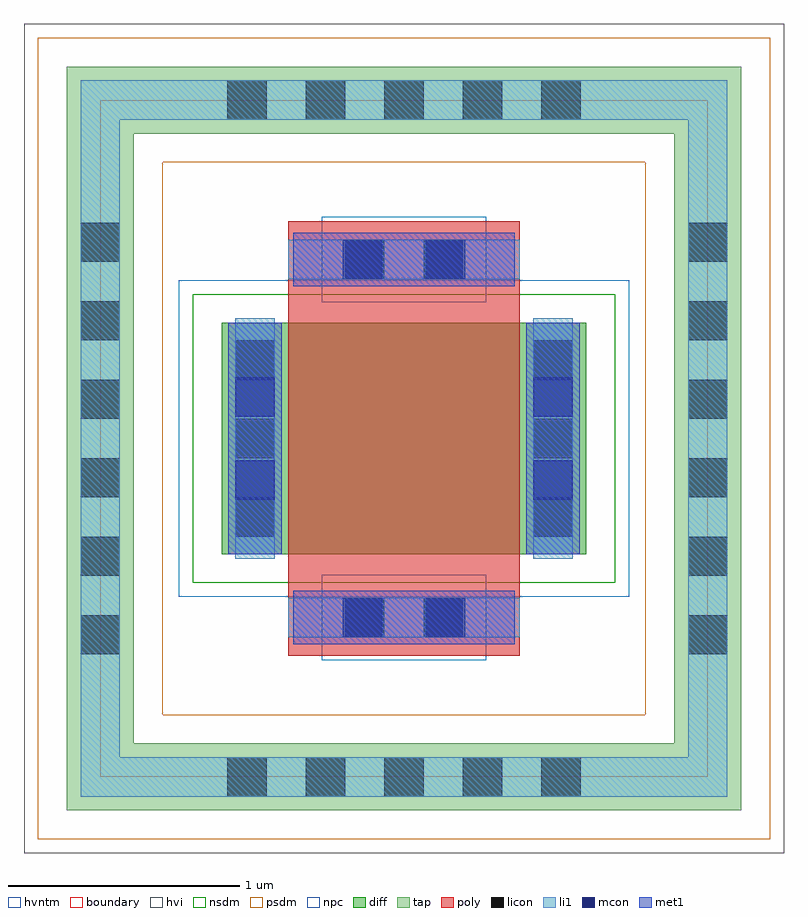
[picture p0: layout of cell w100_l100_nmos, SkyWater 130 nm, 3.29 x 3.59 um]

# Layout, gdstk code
import gdstk
lib = gdstk.Library(unit=1e-6, precision=1e-09)
def R(c, l, rs):  # rectangles x0, y0, x1, y1
    for r in rs: c.add(gdstk.rectangle(r[:2], r[2:], *l))
def A(c, l, x, y, w, h, nx, ny, dx, dy):  # array of equal rectangles
    R(c, l, [(x+i*dx, y+j*dy, x+i*dx+w, y+j*dy+h) for i in range(nx) for j in range(ny)])
diff = (65, 20)
tap = (65, 44)
poly = (66, 20)
licon = (66, 44)
li1 = (67, 20)
mcon = (67, 44)
met1 = (68, 20)
hvi = (75, 20)
nsdm = (93, 44)
psdm = (94, 20)
npc = (95, 20)
hvntm = (125, 20)
boundary = (235, 4)

sky130_fd_pr__nfet_g5v0d = lib.new_cell('sky130_fd_pr__nfet_g5v0d10v5')

w100_l100_nmos = lib.new_cell('w100_l100_nmos')
R(w100_l100_nmos, diff, [(-0.79,-0.5,0.79,0.5)])
R(w100_l100_nmos, tap, [(-1.46,-1.61,1.46,-1.32), (-1.46,-1.32,-1.17,1.32), (1.17,-1.32,1.46,1.32), (-1.46,1.32,1.46,1.61)])
R(w100_l100_nmos, poly, [(-0.5,-0.94,0.5,0.94)])
A(w100_l100_nmos, licon, -0.765, -1.55, 0.17, 0.17, 5, 2, 0.34, 2.93)
A(w100_l100_nmos, licon, -1.4, -0.935, 0.17, 0.17, 1, 6, 0, 0.34)
A(w100_l100_nmos, licon, 1.23, -0.935, 0.17, 0.17, 1, 6, 0, 0.34)
A(w100_l100_nmos, licon, -0.73, -0.425, 0.17, 0.17, 1, 3, 0, 0.34)
A(w100_l100_nmos, licon, 0.56, -0.425, 0.17, 0.17, 1, 3, 0, 0.34)
R(w100_l100_nmos, licon, [(-0.255,-0.86,-0.085,-0.69), (0.085,-0.86,0.255,-0.69), (-0.255,0.69,-0.085,0.86), (0.085,0.69,0.255,0.86)])
R(w100_l100_nmos, li1, [(-1.4,-1.55,1.4,-1.38), (-1.4,-1.38,-1.23,1.38), (1.23,-1.38,1.4,1.38), (-0.5,-0.86,0.5,-0.69), (-0.73,-0.52,-0.56,0.52), (0.56,-0.52,0.73,0.52), (-0.5,0.69,0.5,0.86), (-1.4,1.38,1.4,1.55)])
R(w100_l100_nmos, mcon, [(-0.265,-0.86,-0.095,-0.69), (0.095,-0.86,0.265,-0.69), (-0.73,-0.265,-0.56,-0.095), (0.56,-0.265,0.73,-0.095), (-0.73,0.095,-0.56,0.265), (0.56,0.095,0.73,0.265), (-0.265,0.69,-0.095,0.86), (0.095,0.69,0.265,0.86)])
R(w100_l100_nmos, met1, [(-0.48,-0.89,0.48,-0.66), (-0.76,-0.5,-0.53,0.5), (0.53,-0.5,0.76,0.5), (-0.48,0.66,0.48,0.89)])
R(w100_l100_nmos, hvi, [(-1.645,-1.795,1.645,1.795)])
R(w100_l100_nmos, nsdm, [(-0.915,-0.625,0.915,0.625)])
R(w100_l100_nmos, psdm, [(-1.585,-1.735,1.585,-1.195), (-1.585,-1.195,-1.045,1.195), (1.045,-1.195,1.585,1.195), (-1.585,1.195,1.585,1.735)])
R(w100_l100_nmos, npc, [(-0.355,-0.96,0.355,-0.59), (-0.355,0.59,0.355,0.96)])
R(w100_l100_nmos, hvntm, [(-0.975,-0.685,0.975,0.685)])
R(w100_l100_nmos, boundary, [(-1.315,-1.465,1.315,1.465)])
w100_l100_nmos.add(gdstk.Reference(sky130_fd_pr__nfet_g5v0d, (0,0)))

lib.write_gds('w100_l100_nmos.gds')
